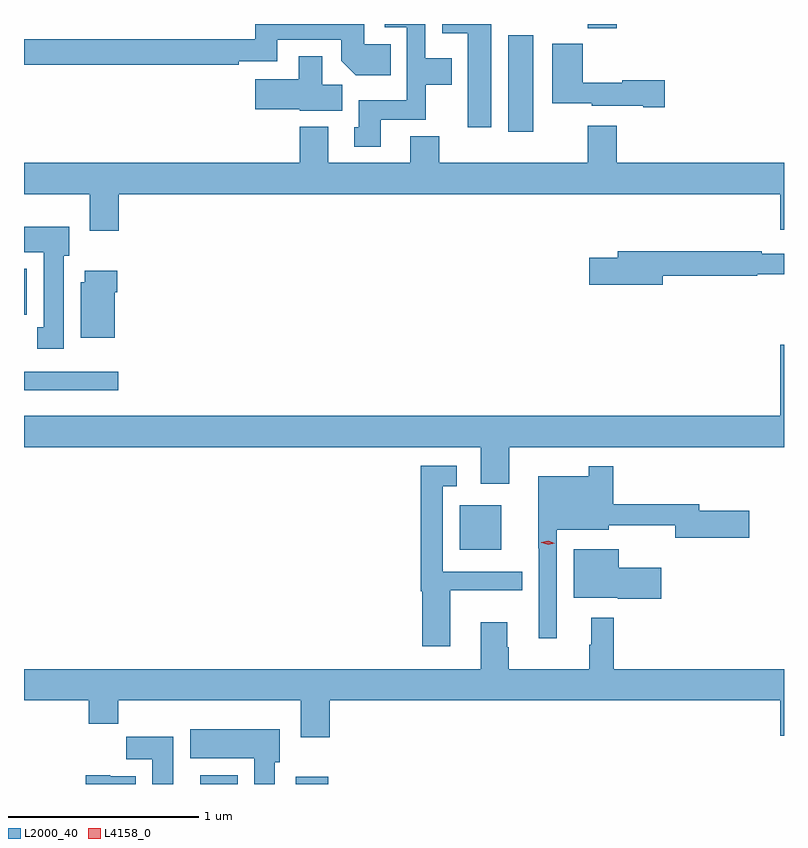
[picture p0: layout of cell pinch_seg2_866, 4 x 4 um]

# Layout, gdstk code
import gdstk
lib = gdstk.Library(unit=1e-6, precision=1e-09)
def R(c, l, rs):  # rectangles x0, y0, x1, y1
    for r in rs: c.add(gdstk.rectangle(r[:2], r[2:], *l))
def P(c, l, *ps):  # polygons
    for p in ps: c.add(gdstk.Polygon(p, *l))
L2000_40 = (2000, 40)
L4158_0 = (4158, 0)

pinch_seg2_866 = lib.new_cell('pinch_seg2_866')
R(pinch_seg2_866, L2000_40, [(497.621,627.215,497.817,627.262), (498.122,627.215,498.293,627.253), (498.986,628.448,499.204,628.681), (496.693,629.288,497.188,629.385), (496.693,629.684,496.708,629.926), (499.241,630.648,499.372,631.156), (499.659,631.193,499.814,631.215)])
P(pinch_seg2_866, L2000_40, [(498.623,631.108),(498.484,631.108),(498.484,631.215),(497.911,631.215),(497.911,631.136),(496.693,631.136),(496.693,631),(497.822,631),(497.822,631.02),(498.027,631.02),(498.027,631.131),(498.362,631.131),(498.362,631.022),(498.44,630.944),(498.623,630.944)],
  [(498.571,630.71),(498.807,630.71),(498.807,630.896),(498.943,630.896),(498.943,631.036),(498.804,631.036),(498.804,631.215),(498.591,631.215),(498.591,631.197),(498.708,631.197),(498.708,630.814),(498.455,630.814),(498.455,630.672),(498.431,630.672),(498.431,630.57),(498.571,630.57)],
  [(499.153,631.215),(498.894,631.215),(498.894,631.166),(499.028,631.166),(499.028,630.672),(499.153,630.672)],
  [(500.065,630.92),(499.842,630.92),(499.842,630.907),(499.634,630.907),(499.634,631.111),(499.472,631.111),(499.472,630.797),(499.68,630.797),(499.68,630.785),(499.952,630.785),(499.952,630.778),(500.065,630.778)],
  [(498.367,630.896),(498.262,630.896),(498.262,631.045),(498.14,631.045),(498.14,630.925),(497.91,630.925),(497.91,630.767),(498.144,630.767),(498.144,630.758),(498.367,630.758)],
  [(500.672,630.132),(500.693,630.132),(500.693,630.484),(499.814,630.484),(499.814,630.679),(499.661,630.679),(499.661,630.484),(498.878,630.484),(498.878,630.625),(498.725,630.625),(498.725,630.484),(498.295,630.484),(498.295,630.673),(498.143,630.673),(498.143,630.484),(496.693,630.484),(496.693,630.32),(497.039,630.32),(497.039,630.126),(497.192,630.126),(497.192,630.32),(500.672,630.32)],
  [(496.903,629.994),(496.93,629.994),(496.93,630.148),(496.693,630.148),(496.693,630.014),(496.796,630.014),(496.796,629.618),(496.763,629.618),(496.763,629.505),(496.903,629.505)],
  [(500.056,629.89),(500.552,629.89),(500.552,629.898),(500.693,629.898),(500.693,630.006),(500.576,630.006),(500.576,630.019),(499.817,630.019),(499.817,629.985),(499.668,629.985),(499.668,629.843),(500.056,629.843)],
  [(497.17,629.804),(497.183,629.804),(497.183,629.917),(497.012,629.917),(497.012,629.856),(496.991,629.856),(496.991,629.564),(497.17,629.564)],
  [(499.246,628.988),(500.693,628.988),(500.693,629.527),(500.672,629.527),(500.672,629.152),(496.693,629.152),(496.693,628.988),(499.097,628.988),(499.097,628.794),(499.246,628.794)],
  [(498.937,628.235),(499.316,628.235),(499.316,628.332),(498.897,628.332),(498.897,628.781),(498.97,628.781),(498.97,628.891),(498.781,628.891),(498.781,628.229),(498.788,628.229),(498.788,627.939),(498.937,627.939)],
  [(499.497,628.553),(499.77,628.553),(499.77,628.576),(500.12,628.576),(500.12,628.511),(500.509,628.511),(500.509,628.653),(500.248,628.653),(500.248,628.687),(499.793,628.687),(499.793,628.888),(499.665,628.888),(499.665,628.834),(499.4,628.834),(499.4,628.457),(499.401,628.457),(499.401,627.981),(499.497,627.981)],
  [(500.047,628.354),(499.822,628.354),(499.822,628.45),(499.586,628.45),(499.586,628.196),(499.818,628.196),(499.818,628.189),(500.047,628.189)],
  [(498.302,627.656),(500.672,627.656),(500.672,627.468),(500.693,627.468),(500.693,627.82),(499.796,627.82),(499.796,628.09),(499.679,628.09),(499.679,627.947),(499.668,627.947),(499.668,627.82),(499.245,627.82),(499.245,627.935),(499.237,627.935),(499.237,628.066),(499.097,628.066),(499.097,627.82),(496.693,627.82),(496.693,627.656),(497.033,627.656),(497.033,627.532),(497.189,627.532),(497.189,627.656),(498.149,627.656),(498.149,627.462),(498.302,627.462)],
  [(498.013,627.33),(498.04,627.33),(498.04,627.502),(497.567,627.502),(497.567,627.35),(497.906,627.35),(497.906,627.215),(498.013,627.215)],
  [(497.479,627.463),(497.23,627.463),(497.23,627.344),(497.369,627.344),(497.369,627.215),(497.479,627.215)],
  [(497.281,627.256),(497.148,627.256),(497.148,627.262),(497.018,627.262),(497.018,627.215),(497.281,627.215)])
P(pinch_seg2_866, L4158_0, [(499.451,628.475),(499.416,628.486),(499.416,628.487),(499.416,628.487),(499.452,628.495),(499.487,628.483),(499.487,628.483),(499.487,628.483)])

lib.write_gds('pinch_seg2_866.gds')
